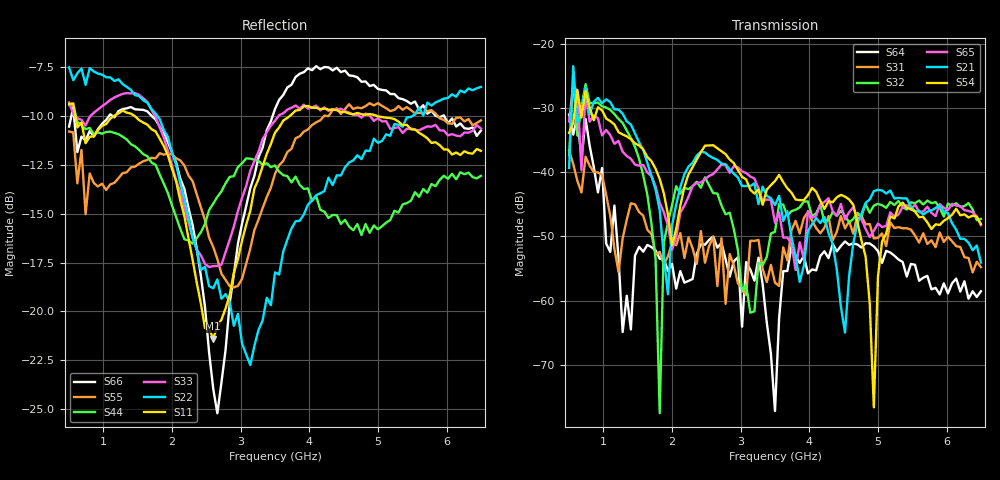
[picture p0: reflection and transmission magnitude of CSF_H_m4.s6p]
!Keysight Technologies,M9804A,MY58100912,A.14.10.03
!Date: Thursday, April 27, 2023 10:28:33
!Correction: S11(C  6-Port  )
!S12(C  6-Port  )
!S13(C  6-Port  )
!S14(C  6-Port  )
!S15(C  6-Port  )
!S16(C  6-Port  )
!S21(C  6-Port  )
!S22(C  6-Port  )
!S23(C  6-Port  )
!S24(C  6-Port  )
!S25(C  6-Port  )
!S26(C  6-Port  )
!S31(C  6-Port  )
!S32(C  6-Port  )
!S33(C  6-Port  )
!S34(C  6-Port  )
!S35(C  6-Port  )
!S36(C  6-Port  )
!S41(C  6-Port  )
!S42(C  6-Port  )
!S43(C  6-Port  )
!S44(C  6-Port  )
!S45(C  6-Port  )
!S46(C  6-Port  )
!S51(C  6-Port  )
!S52(C  6-Port  )
!S53(C  6-Port  )
!S54(C  6-Port  )
!S55(C  6-Port  )
!S56(C  6-Port  )
!S61(C  6-Port  )
!S62(C  6-Port  )
!S63(C  6-Port  )
!S64(C  6-Port  )
!S65(C  6-Port  )
!S66(C  6-Port  )
!S6P File: Measurement: :
# Hz S  RI  R 50
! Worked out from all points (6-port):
!   101 points, 500 MHz to 6.5 GHz, reference 50 ohm
!   strongest paths, dB at 500 MHz, 2 GHz, 3.5 GHz, 5 GHz, 6.5 GHz:
!     S54: -33.9, -51.4, -41.4, -56.3, -48.1
!     S21: -39.4, -48.3, -45.1, -42.8, -54.1
!     S65: -32.1, -52.1, -47.9, -48.0, -48.3
!     S32: -37.4, -45.1, -49.3, -44.9, -47.3
!     S31: -36.7, -51.0, -57.2, -50.2, -54.8
!     S64: -31.0, -54.3, -77.2, -52.3, -58.6
!   lowest |S11| = -21.4 dB at 2.6 GHz (marker M1), VSWR 1.19, Z = 42.5 + j2.31 ohm
!   |S11| at or under -10 dB: 591.9 MHz to 1.148 GHz (556.2 MHz wide, 63.9 % of centre); 1.458 GHz to 3.711 GHz (2.253 GHz wide, 87.2 % of centre); 4.995 GHz to end of sweep
